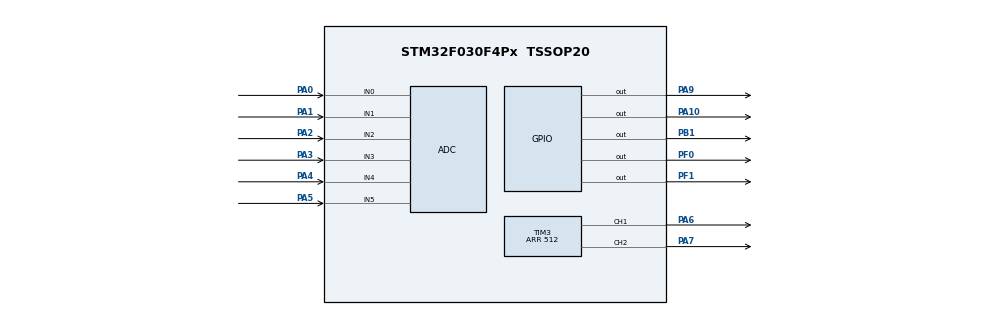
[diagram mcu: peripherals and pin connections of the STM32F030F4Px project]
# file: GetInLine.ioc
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ADC.DiscontinuousConvMode=ENABLE
ADC.LowPowerAutoPowerOff=DISABLE
ADC.LowPowerAutoWait=DISABLE
ADC.Overrun=ADC_OVR_DATA_OVERWRITTEN
ADC.SamplingTime=ADC_SAMPLETIME_55CYCLES_5
Mcu.Family=STM32F0
Mcu.Name=STM32F030F4Px
Mcu.Package=TSSOP20
NVIC.ADC1_IRQn=true\:0\:0\:false\:true\:true\:1
PA0.Mode=IN0
PA0.Signal=ADC_IN0
PA1.Mode=IN1
PA1.Signal=ADC_IN1
PA10.GPIO_ModeDefaultOutputPP=GPIO_MODE_OUTPUT_PP
PA10.GPIO_Speed=GPIO_SPEED_FREQ_HIGH
PA10.PinState=GPIO_PIN_SET
PA10.Signal=GPIO_Output
PA13.Mode=Serial_Wire
PA13.Signal=SYS_SWDIO
PA14.Mode=Serial_Wire
PA14.Signal=SYS_SWCLK
PA2.Mode=IN2
PA2.Signal=ADC_IN2
PA3.Mode=IN3
PA3.Signal=ADC_IN3
PA4.Mode=IN4
PA4.Signal=ADC_IN4
PA5.Mode=IN5
PA5.Signal=ADC_IN5
PA6.GPIO_Speed=GPIO_SPEED_FREQ_MEDIUM
PA6.Signal=S_TIM3_CH1
PA7.GPIO_Speed=GPIO_SPEED_FREQ_MEDIUM
PA7.Signal=S_TIM3_CH2
PA9.GPIO_ModeDefaultOutputPP=GPIO_MODE_OUTPUT_PP
PA9.GPIO_Speed=GPIO_SPEED_FREQ_HIGH
PA9.PinState=GPIO_PIN_SET
PA9.Signal=GPIO_Output
PB1.GPIO_ModeDefaultOutputPP=GPIO_MODE_OUTPUT_PP
PB1.GPIO_Speed=GPIO_SPEED_FREQ_HIGH
PB1.PinState=GPIO_PIN_SET
PB1.Signal=GPIO_Output
PF0-OSC_IN.Signal=GPIO_Output
PF1-OSC_OUT.Signal=GPIO_Output
ProjectManager.HeapSize=0x100
ProjectManager.StackSize=0x200
ProjectManager.TargetToolchain=SW4STM32
SH.S_TIM3_CH1.0=TIM3_CH1,PWM Generation1 CH1
SH.S_TIM3_CH2.0=TIM3_CH2,PWM Generation2 CH2
TIM3.Channel-PWM\ Generation2\ CH2=TIM_CHANNEL_2
TIM3.ClockDivision=TIM_CLOCKDIVISION_DIV1
TIM3.OCFastMode_PWM-PWM\ Generation1\ CH1=TIM_OCFAST_DISABLE
TIM3.Period=512
TIM3.Pulse-PWM\ Generation1\ CH1=0
TIM3.Pulse-PWM\ Generation2\ CH2=0
TIM3.TIM_MasterOutputTrigger=TIM_TRGO_RESET
VP_ADC_Vref_Input.Mode=IN-Vrefint
board=GetInLine

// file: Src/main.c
/**
 ******************************************************************************
 * File Name          : main.c
 * Description        : Main program body
 ******************************************************************************
 *
 * COPYRIGHT(c) 2017 STMicroelectronics
 *
 * Redistribution and use in source and binary forms, with or without modification,
 * are permitted provided that the following conditions are met:
 *   1. Redistributions of source code must retain the above copyright notice,
 *      this list of conditions and the following disclaimer.
 *   2. Redistributions in binary form must reproduce the above copyright notice,
 *      this list of conditions and the following disclaimer in the documentation
 *      and/or other materials provided with the distribution.
 *   3. Neither the name of STMicroelectronics nor the names of its contributors
 *      may be used to endorse or promote products derived from this software
 *      without specific prior written permission.
 *
 * THIS SOFTWARE IS PROVIDED BY THE COPYRIGHT HOLDERS AND CONTRIBUTORS "AS IS"
 * AND ANY EXPRESS OR IMPLIED WARRANTIES, INCLUDING, BUT NOT LIMITED TO, THE
 * IMPLIED WARRANTIES OF MERCHANTABILITY AND FITNESS FOR A PARTICULAR PURPOSE ARE
 * DISCLAIMED. IN NO EVENT SHALL THE COPYRIGHT HOLDER OR CONTRIBUTORS BE LIABLE
 * FOR ANY DIRECT, INDIRECT, INCIDENTAL, SPECIAL, EXEMPLARY, OR CONSEQUENTIAL
 * DAMAGES (INCLUDING, BUT NOT LIMITED TO, PROCUREMENT OF SUBSTITUTE GOODS OR
 * SERVICES; LOSS OF USE, DATA, OR PROFITS; OR BUSINESS INTERRUPTION) HOWEVER
 * CAUSED AND ON ANY THEORY OF LIABILITY, WHETHER IN CONTRACT, STRICT LIABILITY,
 * OR TORT (INCLUDING NEGLIGENCE OR OTHERWISE) ARISING IN ANY WAY OUT OF THE USE
 * OF THIS SOFTWARE, EVEN IF ADVISED OF THE POSSIBILITY OF SUCH DAMAGE.
 *
 ******************************************************************************
 */
#include "main.h"
#include "stm32f0xx_hal.h"

/* USER CODE BEGIN Includes */
#include "globals.h"
#include "control.h"
/* USER CODE END Includes */

ADC_HandleTypeDef hadc;

TIM_HandleTypeDef htim3;

/* USER CODE BEGIN PV */
/* Private variables ---------------------------------------------------------*/
enum {
	ADC_SAMPLING, ADC_COMPLETE, ADC_ERROR
};

uint16_t newADCValue; //ADC interrupt mode: callback writes new value to this variable
uint8_t ADCstatusFlag = ADC_COMPLETE; //flag is set before starting ADC sampling, cleared in the ADC interrupt

/* USER CODE END PV */

void SystemClock_Config(void);
void Error_Handler(void);
static void MX_GPIO_Init(void);
static void MX_ADC_Init(void);
static void MX_TIM3_Init(void);
static void MX_NVIC_Init(void);

void HAL_TIM_MspPostInit(TIM_HandleTypeDef *htim);

/* USER CODE BEGIN PFP */
/* Private function prototypes -----------------------------------------------*/

/* USER CODE END PFP */

/* USER CODE BEGIN 0 */

/*
 * Get-In-Line line follower firware
 *
 here is how the initial version should work:

 initialize everything
 in the main loop:
 -read all analog input channels (can deactivate some channels if this is not fast enough)
 -calculate the position of the line using interpolation algorithm
 -adjust PWM values of the motors according to PID parameters to get the line to the center
 -if no line is detected go straight ahead

 advanced stuff for later:
 -adjust pwm value according to input voltage to not make the robot slow down on lower input voltage
 -maybe need some algorithm to detect crossings -> line width is bigger than usual
 -also maybe need an algorithm to detect right angles

 *
 */

/* USER CODE END 0 */

int main(void) {

	/* USER CODE BEGIN 1 */
	/*

	 Warning:
	 --------
	 The initialization setup is done in CubeMX, code outside of 'USER CODE' sections
	 is removed when re-generating the code. Keep any user functions within these sections.

	 */
	/* USER CODE END 1 */

	/* MCU Configuration----------------------------------------------------------*/

	/* Reset of all peripherals, Initializes the Flash interface and the Systick. */
	HAL_Init();

	/* Configure the system clock */
	SystemClock_Config();

	/* Initialize all configured peripherals */
	MX_GPIO_Init();
	MX_ADC_Init();
	MX_TIM3_Init();

	/* Initialize interrupts */
	MX_NVIC_Init();

	/* USER CODE BEGIN 2 */

	//do some blinking to show proper boot
	HAL_Delay(200);
	LED_ON;
	HAL_Delay(200);
	LED_OFF;
	HAL_Delay(150);
	LED_ON;
	HAL_Delay(150);
	LED_OFF;
	HAL_Delay(100);
	LED_ON;
	HAL_Delay(100);
	LED_OFF;
	HAL_Delay(50);
	LED_ON;
	readAllADCs(); //reads all ADC channels and deactivates all but the sensor channel afterwards
//	readAllADCs(); //read ADCs again (first time read gets wrong value on vrefint
	LED_OFF;

	/* USER CODE END 2 */

	/* Infinite loop */
	/* USER CODE BEGIN WHILE */

	uint32_t timestamp = HAL_GetTick();

	while (1) {

		RobotControl(); //run the controller periodically as fast as possible

		//HAL_Delay(1);
		if (HAL_GetTick() - timestamp > 100) {
			timestamp = HAL_GetTick();
			readAllADCs();
		}

	}
	/* USER CODE END WHILE */

}

/** System Clock Configuration
 */
void SystemClock_Config(void) {

	RCC_OscInitTypeDef RCC_OscInitStruct;
	RCC_ClkInitTypeDef RCC_ClkInitStruct;

	/**Initializes the CPU, AHB and APB busses clocks
	 */
	RCC_OscInitStruct.OscillatorType = RCC_OSCILLATORTYPE_HSI
			| RCC_OSCILLATORTYPE_HSI14;
	RCC_OscInitStruct.HSIState = RCC_HSI_ON;
	RCC_OscInitStruct.HSI14State = RCC_HSI14_ON;
	RCC_OscInitStruct.HSICalibrationValue = 16;
	RCC_OscInitStruct.HSI14CalibrationValue = 16;
	RCC_OscInitStruct.PLL.PLLState = RCC_PLL_NONE;
	if (HAL_RCC_OscConfig(&RCC_OscInitStruct) != HAL_OK) {
		Error_Handler();
	}

	/**Initializes the CPU, AHB and APB busses clocks
	 */
	RCC_ClkInitStruct.ClockType = RCC_CLOCKTYPE_HCLK | RCC_CLOCKTYPE_SYSCLK
			| RCC_CLOCKTYPE_PCLK1;
	RCC_ClkInitStruct.SYSCLKSource = RCC_SYSCLKSOURCE_HSI;
	RCC_ClkInitStruct.AHBCLKDivider = RCC_SYSCLK_DIV1;
	RCC_ClkInitStruct.APB1CLKDivider = RCC_HCLK_DIV1;

	if (HAL_RCC_ClockConfig(&RCC_ClkInitStruct, FLASH_LATENCY_0) != HAL_OK) {
		Error_Handler();
	}

	/**Configure the Systick interrupt time
	 */
	HAL_SYSTICK_Config(HAL_RCC_GetHCLKFreq() / 1000);

	/**Configure the Systick
	 */
	HAL_SYSTICK_CLKSourceConfig(SYSTICK_CLKSOURCE_HCLK);

	/* SysTick_IRQn interrupt configuration */
	HAL_NVIC_SetPriority(SysTick_IRQn, 0, 0);
}

/** NVIC Configuration
 */
static void MX_NVIC_Init(void) {
	/* ADC1_IRQn interrupt configuration */
	HAL_NVIC_SetPriority(ADC1_IRQn, 0, 0);
	HAL_NVIC_EnableIRQ(ADC1_IRQn);
}

/* ADC init function */
static void MX_ADC_Init(void) {

	ADC_ChannelConfTypeDef sConfig;

	/**Configure the global features of the ADC (Clock, Resolution, Data Alignment and number of conversion)
	 */
	hadc.Instance = ADC1;
	hadc.Init.ClockPrescaler = ADC_CLOCK_ASYNC_DIV1;
	hadc.Init.Resolution = ADC_RESOLUTION_12B;
	hadc.Init.DataAlign = ADC_DATAALIGN_RIGHT;
	hadc.Init.ScanConvMode = ADC_SCAN_DIRECTION_FORWARD;
	hadc.Init.EOCSelection = ADC_EOC_SINGLE_CONV;
	hadc.Init.LowPowerAutoWait = DISABLE;
	hadc.Init.LowPowerAutoPowerOff = DISABLE;
	hadc.Init.ContinuousConvMode = DISABLE;
	hadc.Init.DiscontinuousConvMode = ENABLE;
	hadc.Init.ExternalTrigConv = ADC_SOFTWARE_START;
	hadc.Init.ExternalTrigConvEdge = ADC_EXTERNALTRIGCONVEDGE_NONE;
	hadc.Init.DMAContinuousRequests = DISABLE;
	hadc.Init.Overrun = ADC_OVR_DATA_OVERWRITTEN;
	if (HAL_ADC_Init(&hadc) != HAL_OK) {
		Error_Handler();
	}

	/**Configure for the selected ADC regular channel to be converted.
	 */
	sConfig.Channel = ADC_CHANNEL_0;
	sConfig.Rank = ADC_RANK_CHANNEL_NUMBER;
	sConfig.SamplingTime = ADC_SAMPLETIME_55CYCLES_5;
	if (HAL_ADC_ConfigChannel(&hadc, &sConfig) != HAL_OK) {
		Error_Handler();
	}

	/**Configure for the selected ADC regular channel to be converted.
	 */
	sConfig.Channel = ADC_CHANNEL_1;
	if (HAL_ADC_ConfigChannel(&hadc, &sConfig) != HAL_OK) {
		Error_Handler();
	}

	/**Configure for the selected ADC regular channel to be converted.
	 */
	sConfig.Channel = ADC_CHANNEL_2;
	if (HAL_ADC_ConfigChannel(&hadc, &sConfig) != HAL_OK) {
		Error_Handler();
	}

	/**Configure for the selected ADC regular channel to be converted.
	 */
	sConfig.Channel = ADC_CHANNEL_3;
	if (HAL_ADC_ConfigChannel(&hadc, &sConfig) != HAL_OK) {
		Error_Handler();
	}

	/**Configure for the selected ADC regular channel to be converted.
	 */
	sConfig.Channel = ADC_CHANNEL_4;
	if (HAL_ADC_ConfigChannel(&hadc, &sConfig) != HAL_OK) {
		Error_Handler();
	}

	/**Configure for the selected ADC regular channel to be converted.
	 */
	sConfig.Channel = ADC_CHANNEL_5;
	if (HAL_ADC_ConfigChannel(&hadc, &sConfig) != HAL_OK) {
		Error_Handler();
	}

	/**Configure for the selected ADC regular channel to be converted.
	 */
	sConfig.Channel = ADC_CHANNEL_VREFINT;
	if (HAL_ADC_ConfigChannel(&hadc, &sConfig) != HAL_OK) {
		Error_Handler();
	}

}

/* TIM3 init function */
static void MX_TIM3_Init(void) {

	TIM_MasterConfigTypeDef sMasterConfig;
	TIM_OC_InitTypeDef sConfigOC;

	htim3.Instance = TIM3;
	htim3.Init.Prescaler = 0;
	htim3.Init.CounterMode = TIM_COUNTERMODE_UP;
	htim3.Init.Period = 512;
	htim3.Init.ClockDivision = TIM_CLOCKDIVISION_DIV1;
	htim3.Init.AutoReloadPreload = TIM_AUTORELOAD_PRELOAD_DISABLE;
	if (HAL_TIM_PWM_Init(&htim3) != HAL_OK) {
		Error_Handler();
	}

	sMasterConfig.MasterOutputTrigger = TIM_TRGO_RESET;
	sMasterConfig.MasterSlaveMode = TIM_MASTERSLAVEMODE_DISABLE;
	if (HAL_TIMEx_MasterConfigSynchronization(&htim3, &sMasterConfig)
			!= HAL_OK) {
		Error_Handler();
	}

	sConfigOC.OCMode = TIM_OCMODE_PWM1;
	sConfigOC.Pulse = 0;
	sConfigOC.OCPolarity = TIM_OCPOLARITY_HIGH;
	sConfigOC.OCFastMode = TIM_OCFAST_DISABLE;
	if (HAL_TIM_PWM_ConfigChannel(&htim3, &sConfigOC, TIM_CHANNEL_1)
			!= HAL_OK) {
		Error_Handler();
	}

	if (HAL_TIM_PWM_ConfigChannel(&htim3, &sConfigOC, TIM_CHANNEL_2)
			!= HAL_OK) {
		Error_Handler();
	}

	HAL_TIM_MspPostInit(&htim3);

}

/** Configure pins as
 * Analog
 * Input
 * Output
 * EVENT_OUT
 * EXTI
 */
static void MX_GPIO_Init(void) {

	GPIO_InitTypeDef GPIO_InitStruct;

	/* GPIO Ports Clock Enable */
	__HAL_RCC_GPIOF_CLK_ENABLE()
	;
	__HAL_RCC_GPIOA_CLK_ENABLE()
	;
	__HAL_RCC_GPIOB_CLK_ENABLE()
	;

	/*Configure GPIO pin Output Level */
	HAL_GPIO_WritePin(GPIOF, GPIO_PIN_0 | GPIO_PIN_1, GPIO_PIN_RESET);

	/*Configure GPIO pin Output Level */
	HAL_GPIO_WritePin(GPIOB, GPIO_PIN_1, GPIO_PIN_SET);

	/*Configure GPIO pin Output Level */
	HAL_GPIO_WritePin(GPIOA, GPIO_PIN_9 | GPIO_PIN_10, GPIO_PIN_SET);

	/*Configure GPIO pins : PF0 PF1 */
	GPIO_InitStruct.Pin = GPIO_PIN_0 | GPIO_PIN_1;
	GPIO_InitStruct.Mode = GPIO_MODE_OUTPUT_PP;
	GPIO_InitStruct.Pull = GPIO_NOPULL;
	GPIO_InitStruct.Speed = GPIO_SPEED_FREQ_LOW;
	HAL_GPIO_Init(GPIOF, &GPIO_InitStruct);

	/*Configure GPIO pin : PB1 */
	GPIO_InitStruct.Pin = GPIO_PIN_1;
	GPIO_InitStruct.Mode = GPIO_MODE_OUTPUT_PP;
	GPIO_InitStruct.Pull = GPIO_NOPULL;
	GPIO_InitStruct.Speed = GPIO_SPEED_FREQ_HIGH;
	HAL_GPIO_Init(GPIOB, &GPIO_InitStruct);

	/*Configure GPIO pins : PA9 PA10 */
	GPIO_InitStruct.Pin = GPIO_PIN_9 | GPIO_PIN_10;
	GPIO_InitStruct.Mode = GPIO_MODE_OUTPUT_PP;
	GPIO_InitStruct.Pull = GPIO_NOPULL;
	GPIO_InitStruct.Speed = GPIO_SPEED_FREQ_HIGH;
	HAL_GPIO_Init(GPIOA, &GPIO_InitStruct);

}

/* USER CODE BEGIN 4 */
void HAL_ADC_ConvCpltCallback(ADC_HandleTypeDef* hadc) {
	newADCValue = HAL_ADC_GetValue(hadc);
	ADCstatusFlag = ADC_COMPLETE;
}

//read one ADC value from current channel, channels are automatically changed after each read (up counting)
uint16_t ADC_readValue(void) {
	if (ADCstatusFlag != ADC_SAMPLING) {
		ADCstatusFlag = ADC_SAMPLING;

		/*
		 //use interrupt to sample the ADC (somehow not working...)
		 HAL_ADC_Start_IT(&hadc);
		 while (ADCstatusFlag == ADC_SAMPLING) {
		 //HAL_PWR_EnterSLEEPMode(PWR_MAINREGULATOR_ON, PWR_SLEEPENTRY_WFI);
		 }*/

		HAL_ADC_Start(&hadc);
		HAL_ADC_PollForConversion(&hadc, 5);
		newADCValue = HAL_ADC_GetValue(&hadc);
		ADCstatusFlag = ADC_COMPLETE;
		return newADCValue;
	} else
		return -1;
}

void readAllADCs(void) {
	//read all ADC channels once, this is done once every few seconds
	//the ADC is re-initialized to ensure the reading starts at channel 0 (I did not find another way to select the next channel to be converted)
	//after all channels are read, all channels except the optical sensor channel are disbled again
	ADC_ChannelConfTypeDef sConfig;
	volatile uint16_t VrefInt;

	//(re-)activate all channels
	sConfig.Rank = ADC_RANK_CHANNEL_NUMBER; //enable channel ranks
	sConfig.Channel = ADC_CHANNEL_0;
	HAL_ADC_ConfigChannel(&hadc, &sConfig);
	sConfig.Channel = ADC_CHANNEL_2;
	HAL_ADC_ConfigChannel(&hadc, &sConfig);
	sConfig.Channel = ADC_CHANNEL_3;
	HAL_ADC_ConfigChannel(&hadc, &sConfig);
	sConfig.Channel = ADC_CHANNEL_4;
	HAL_ADC_ConfigChannel(&hadc, &sConfig);
	sConfig.Channel = ADC_CHANNEL_5;
	HAL_ADC_ConfigChannel(&hadc, &sConfig);
	sConfig.Channel = ADC_CHANNEL_VREFINT;
	HAL_ADC_ConfigChannel(&hadc, &sConfig);

	//channels are: voltage, sensor, P,I,D, speed, Vref internal (7 channels total)
	Vbat = ADC_readValue();
	ADC_readValue(); //sensor value is not needed, read and discard it
	potentiometers[0] = ADC_readValue(); //P
	potentiometers[1] = ADC_readValue(); //I
	potentiometers[2] = ADC_readValue(); //D
	potentiometers[3] = ADC_readValue(); //speed
	VrefInt = ADC_readValue();

	//calculate the actual battery voltage level from internal reference
	volatile uint32_t inputVoltage = ((uint32_t) (*VREFINT_CAL_ADDR)
			* (uint32_t) 3300) / (uint32_t) VrefInt;

	Vbat = ((uint32_t) 3200 * 2 * (uint32_t) Vbat) / (uint32_t) 4095; //external voltage in millivolts (times 2 because of voltage divider)

	//disable sampling on all channels except channel 1 (sensor input channel)

	sConfig.Rank = ADC_RANK_NONE; //disable channel rank (channel will not be sampled)
	sConfig.Channel = ADC_CHANNEL_0;
	HAL_ADC_ConfigChannel(&hadc, &sConfig);
	sConfig.Channel = ADC_CHANNEL_2;
	HAL_ADC_ConfigChannel(&hadc, &sConfig);
	sConfig.Channel = ADC_CHANNEL_3;
	HAL_ADC_ConfigChannel(&hadc, &sConfig);
	sConfig.Channel = ADC_CHANNEL_4;
	HAL_ADC_ConfigChannel(&hadc, &sConfig);
	sConfig.Channel = ADC_CHANNEL_5;
	HAL_ADC_ConfigChannel(&hadc, &sConfig);
	sConfig.Channel = ADC_CHANNEL_VREFINT;
	HAL_ADC_ConfigChannel(&hadc, &sConfig);
}

/* USER CODE END 4 */

void Error_Handler(void) {
	while (1) {
	}
}

/************************ (C) COPYRIGHT STMicroelectronics *****END OF FILE****/
